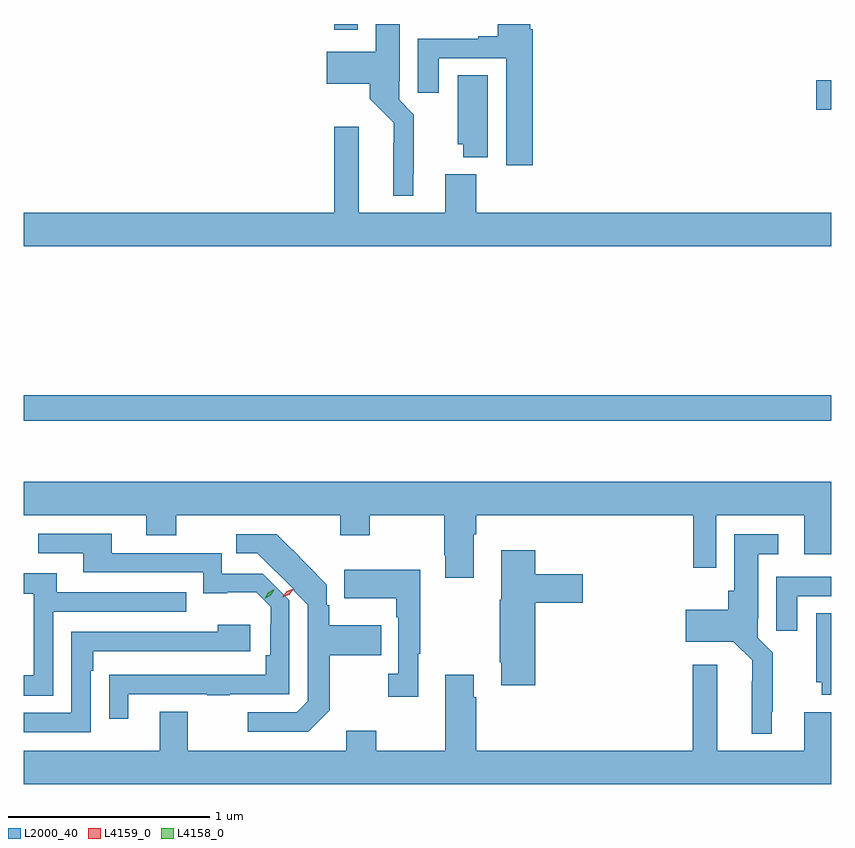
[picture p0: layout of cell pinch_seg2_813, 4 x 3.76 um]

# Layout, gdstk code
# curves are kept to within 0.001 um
import gdstk
lib = gdstk.Library(unit=1e-6, precision=1e-09)
def R(c, l, rs):  # rectangles x0, y0, x1, y1
    for r in rs: c.add(gdstk.rectangle(r[:2], r[2:], *l))
def P(c, l, *ps):  # polygons
    for p in ps: c.add(gdstk.Polygon(p, *l))
L2000_40 = (2000, 40)
L4158_0 = (4158, 0)
L4159_0 = (4159, 0)

pinch_seg2_813 = lib.new_cell('pinch_seg2_813')
R(pinch_seg2_813, L2000_40, [(733.282,617.466,737.282,617.594), (737.208,619.007,737.282,619.154), (734.821,619.404,734.937,619.432)])
P(pinch_seg2_813, L2000_40, [(735.211,618.691),(735.215,618.691),(735.215,618.982),(735.141,619.056),(735.141,619.15),(735.145,619.15),(735.145,619.432),(735.026,619.432),(735.026,619.294),(734.784,619.294),(734.784,619.136),(734.996,619.136),(734.996,619.062),(735.114,618.944),(735.113,618.581),(735.211,618.581)],
  [(735.803,619.406),(735.79,619.406),(735.79,619.432),(735.629,619.432),(735.629,619.372),(735.533,619.372),(735.533,619.359),(735.233,619.359),(735.233,619.092),(735.337,619.092),(735.337,619.263),(735.671,619.263),(735.671,618.732),(735.803,618.732)],
  [(735.58,619.178),(735.431,619.178),(735.431,618.837),(735.458,618.837),(735.458,618.773),(735.58,618.773)],
  [(737.282,618.496),(735.524,618.496),(735.524,618.688),(735.371,618.688),(735.371,618.496),(734.941,618.496),(734.941,618.922),(734.819,618.922),(734.819,618.496),(733.282,618.496),(733.282,618.332),(737.282,618.332)],
  [(735.511,616.904),(735.524,616.904),(735.524,617),(736.597,617),(736.597,616.74),(736.713,616.74),(736.713,617),(737.147,617),(737.147,616.806),(737.282,616.806),(737.282,617.164),(733.282,617.164),(733.282,617),(733.889,617),(733.889,616.901),(734.037,616.901),(734.037,617),(734.849,617),(734.849,616.901),(734.997,616.901),(734.997,617),(735.364,617),(735.364,616.801),(735.371,616.801),(735.371,616.689),(735.511,616.689)],
  [(733.801,616.113),(734.191,616.113),(734.191,616.108),(734.303,616.108),(734.303,616.113),(734.598,616.113),(734.598,616.579),(734.467,616.71),(734.264,616.71),(734.264,616.812),(733.717,616.812),(733.717,616.908),(733.353,616.908),(733.353,616.812),(733.577,616.812),(733.577,616.716),(734.172,616.716),(734.172,616.613),(734.291,616.613),(734.291,616.618),(734.435,616.618),(734.506,616.547),(734.506,616.457),(734.502,616.457),(734.502,616.306),(734.482,616.306),(734.482,616.209),(733.705,616.208),(733.705,615.99),(733.801,615.99)],
  [(736.987,616.027),(736.991,616.027),(736.991,616.318),(736.917,616.392),(736.917,616.486),(736.921,616.486),(736.921,616.805),(737.02,616.805),(737.02,616.906),(736.802,616.906),(736.802,616.626),(736.772,616.626),(736.772,616.531),(736.56,616.531),(736.56,616.373),(736.797,616.373),(736.89,616.28),(736.889,615.917),(736.987,615.917)],
  [(734.797,616.033),(734.797,616.306),(735.053,616.306),(735.053,616.453),(734.796,616.453),(734.796,616.553),(734.784,616.553),(734.784,616.655),(734.683,616.756),(734.685,616.757),(734.614,616.828),(734.613,616.827),(734.535,616.905),(734.336,616.905),(734.336,616.812),(734.44,616.812),(734.621,616.631),(734.617,616.627),(734.688,616.556),(734.688,616.077),(734.634,616.023),(734.391,616.023),(734.391,615.927),(734.691,615.927)],
  [(735.815,616.565),(736.051,616.565),(736.051,616.707),(735.815,616.707),(735.815,616.825),(735.647,616.825),(735.647,616.581),(735.64,616.581),(735.64,616.27),(735.647,616.27),(735.647,616.158),(735.815,616.158)],
  [(735.235,616.313),(735.247,616.313),(735.247,616.729),(734.869,616.729),(734.869,616.589),(735.126,616.589),(735.126,616.493),(735.138,616.493),(735.138,616.214),(735.087,616.214),(735.087,616.101),(735.235,616.101)],
  [(733.428,616.521),(734.087,616.521),(734.087,616.617),(733.447,616.617),(733.447,616.711),(733.282,616.711),(733.282,616.611),(733.332,616.611),(733.332,616.206),(733.282,616.206),(733.282,616.105),(733.428,616.105)],
  [(737.113,616.599),(737.282,616.599),(737.282,616.695),(737.009,616.695),(737.009,616.428),(737.113,616.428)],
  [(737.282,616.514),(737.207,616.514),(737.207,616.173),(737.234,616.173),(737.234,616.109),(737.282,616.109)],
  [(733.614,616.229),(733.627,616.229),(733.627,616.326),(734.404,616.326),(734.404,616.456),(734.243,616.456),(734.243,616.422),(733.518,616.422),(733.518,616.02),(733.282,616.02),(733.282,615.924),(733.614,615.924)],
  [(737.282,616.024),(737.147,616.024),(737.147,615.832),(736.717,615.832),(736.717,616.258),(736.595,616.258),(736.595,615.832),(735.524,615.832),(735.524,616.097),(735.511,616.097),(735.511,616.21),(735.371,616.21),(735.371,615.832),(735.027,615.832),(735.027,615.931),(734.879,615.931),(734.879,615.832),(734.095,615.832),(734.095,616.027),(733.955,616.027),(733.955,615.832),(733.282,615.832),(733.282,615.668),(737.282,615.668)])
P(pinch_seg2_813, L4158_0, [(734.476,616.586),(734.476,616.586),(734.492,616.616),(734.523,616.632),(734.523,616.632),(734.523,616.631),(734.506,616.602),(734.476,616.586)])
P(pinch_seg2_813, L4159_0, [(734.563,616.592),(734.563,616.592),(734.585,616.622),(734.62,616.635),(734.62,616.635),(734.62,616.635),(734.598,616.605),(734.563,616.592)])

lib.write_gds('pinch_seg2_813.gds')
